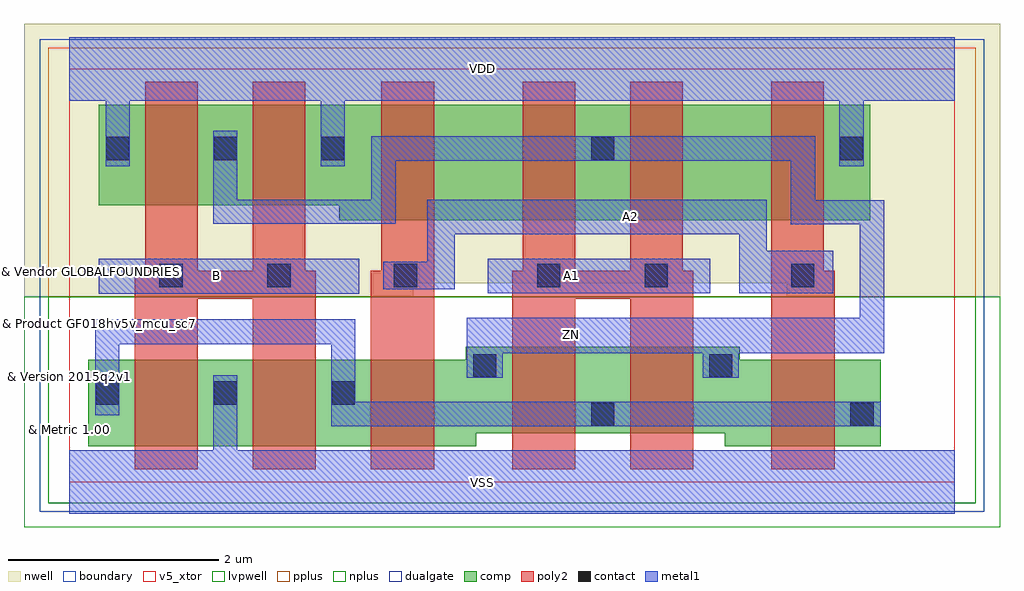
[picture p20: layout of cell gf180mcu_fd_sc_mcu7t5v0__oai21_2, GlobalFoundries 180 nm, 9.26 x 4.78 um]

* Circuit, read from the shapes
.subckt gf180mcu_fd_sc_mcu7t5v0__oai21_2 A1 A2 B VDD VSS ZN
XM1 VSS B n1 VSUBS nfet_05v0 w=0.82u l=0.6u m=2
XM2 ZN A2 n1 VSUBS nfet_05v0 w=0.82u l=0.6u m=2
XM3 n1 A1 ZN VSUBS nfet_05v0 w=0.82u l=0.6u m=2
XM4 ZN B VDD n2 pfet_05v0 w=0.955u l=0.5u m=2
XM5 n3 A2 VDD n2 pfet_05v0 w=1.095u l=0.5u
XM6 ZN A1 n3 n2 pfet_05v0 w=1.095u l=0.5u
XM7 n4 A1 ZN n2 pfet_05v0 w=1.095u l=0.5u
XM8 VDD A2 n4 n2 pfet_05v0 w=1.095u l=0.5u
.ends

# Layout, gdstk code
import gdstk
lib = gdstk.Library(unit=1e-6, precision=1e-09)
def R(c, l, rs):  # rectangles x0, y0, x1, y1
    for r in rs: c.add(gdstk.rectangle(r[:2], r[2:], *l))
def A(c, l, x, y, w, h, nx, ny, dx, dy):  # array of equal rectangles
    R(c, l, [(x+i*dx, y+j*dy, x+i*dx+w, y+j*dy+h) for i in range(nx) for j in range(ny)])
def P(c, l, *ps):  # polygons
    for p in ps: c.add(gdstk.Polygon(p, *l))
boundary = (0, 0)
nwell = (21, 0)
comp = (22, 0)
poly2 = (30, 0)
pplus = (31, 0)
nplus = (32, 0)
contact = (33, 0)
metal1 = (34, 0)
dualgate = (55, 0)
v5_xtor = (112, 1)
lvpwell = (204, 0)

gf180mcu_fd_sc_mcu7t5v0_ = lib.new_cell('gf180mcu_fd_sc_mcu7t5v0__oai21_2')
R(gf180mcu_fd_sc_mcu7t5v0_, boundary, [(0,0,8.4,3.92)])
P(gf180mcu_fd_sc_mcu7t5v0_, nwell, [(-0.43,1.76),(-0.43,4.35),(8.83,4.35),(8.83,1.76),(6.805,1.76),(6.805,1.885),(3.265,1.885),(3.265,1.76)])
P(gf180mcu_fd_sc_mcu7t5v0_, comp, [(2.56,2.485),(2.56,2.625),(0.28,2.625),(0.28,3.58),(7.6,3.58),(7.6,2.485)],
  [(0.18,0.34),(0.18,1.16),(3.76,1.16),(3.76,1.285),(6.36,1.285),(6.36,1.16),(7.7,1.16),(7.7,0.34),(6.22,0.34),(6.22,0.465),(3.86,0.465),(3.86,0.34)])
P(gf180mcu_fd_sc_mcu7t5v0_, poly2, [(0.62,0.12),(0.62,2.005),(0.72,2.005),(0.72,3.8),(1.22,3.8),(1.22,2.005),(1.74,2.005),(1.74,3.8),(2.24,3.8),(2.24,2.005),(2.34,2.005),(2.34,0.12),(1.74,0.12),(1.74,1.74),(1.22,1.74),(1.22,0.12)],
  [(2.86,0.12),(2.86,2.005),(2.96,2.005),(2.96,3.8),(3.46,3.8),(3.46,0.12)],
  [(4.2,0.12),(4.2,2.005),(4.3,2.005),(4.3,3.8),(4.8,3.8),(4.8,2.005),(5.32,2.005),(5.32,3.8),(5.82,3.8),(5.82,2.005),(5.92,2.005),(5.92,0.12),(5.32,0.12),(5.32,1.74),(4.8,1.74),(4.8,0.12)],
  [(6.66,0.12),(6.66,3.8),(7.16,3.8),(7.16,2.005),(7.26,2.005),(7.26,0.12)])
R(gf180mcu_fd_sc_mcu7t5v0_, pplus, [(-0.2,1.76,8.6,4.12)])
R(gf180mcu_fd_sc_mcu7t5v0_, nplus, [(-0.2,-0.2,8.6,1.76)])
A(gf180mcu_fd_sc_mcu7t5v0_, contact, 0.25, 0.735, 0.22, 0.22, 3, 1, 1.12, 0)
A(gf180mcu_fd_sc_mcu7t5v0_, contact, 0.35, 3.055, 0.22, 0.22, 3, 1, 1.02, 0)
R(gf180mcu_fd_sc_mcu7t5v0_, contact, [(4.95,0.535,5.17,0.755), (7.41,0.535,7.63,0.755), (3.83,0.995,4.05,1.215), (6.07,0.995,6.29,1.215), (0.855,1.85,1.075,2.07), (1.88,1.85,2.1,2.07), (3.08,1.85,3.3,2.07), (4.44,1.85,4.66,2.07), (5.46,1.85,5.68,2.07), (6.85,1.85,7.07,2.07), (4.95,3.055,5.17,3.275), (7.31,3.055,7.53,3.275)])
R(gf180mcu_fd_sc_mcu7t5v0_, metal1, [(0.28,1.785,2.75,2.12), (3.97,1.79,6.08,2.12)])
P(gf180mcu_fd_sc_mcu7t5v0_, metal1, [(6.355,1.79),(6.355,2.35),(3.655,2.35),(3.655,1.83),(2.98,1.83),(2.98,2.09),(3.395,2.09),(3.395,2.68),(6.615,2.68),(6.615,2.195),(7.25,2.195),(7.25,1.79)],
  [(2.485,0.53),(2.485,1.31),(0.475,1.31),(0.475,0.635),(0.245,0.635),(0.245,1.545),(2.715,1.545),(2.715,0.76),(7.7,0.76),(7.7,0.53)],
  [(3.77,0.99),(3.77,1.56),(7.5,1.56),(7.5,2.445),(6.845,2.445),(6.845,3.05),(3.095,3.05),(3.095,2.45),(1.365,2.45),(1.365,3.335),(1.595,3.335),(1.595,2.68),(2.865,2.68),(2.865,3.28),(7.075,3.28),(7.075,2.675),(7.73,2.675),(7.73,1.22),(6.35,1.22),(6.35,0.99),(6.01,0.99),(6.01,1.22),(4.11,1.22),(4.11,0.99)],
  [(0,-0.3),(0,0.3),(1.365,0.3),(1.365,1.015),(1.595,1.015),(1.595,0.3),(8.4,0.3),(8.4,-0.3)],
  [(0.345,2.995),(0.345,3.62),(0,3.62),(0,4.22),(8.4,4.22),(8.4,3.62),(7.535,3.62),(7.535,2.995),(7.305,2.995),(7.305,3.62),(2.615,3.62),(2.615,2.995),(2.385,2.995),(2.385,3.62),(0.575,3.62),(0.575,2.995)])
R(gf180mcu_fd_sc_mcu7t5v0_, dualgate, [(-0.28,-0.28,8.68,4.2)])
R(gf180mcu_fd_sc_mcu7t5v0_, v5_xtor, [(0,0,8.4,3.92)])
R(gf180mcu_fd_sc_mcu7t5v0_, lvpwell, [(-0.43,-0.43,8.83,1.76)])
gf180mcu_fd_sc_mcu7t5v0_.add(gdstk.Label('A2', (5.32,2.52), layer=34, texttype=10))
gf180mcu_fd_sc_mcu7t5v0_.add(gdstk.Label('ZN', (4.76,1.4), layer=34, texttype=10))
gf180mcu_fd_sc_mcu7t5v0_.add(gdstk.Label('A1', (4.76,1.96), layer=34, texttype=10))
gf180mcu_fd_sc_mcu7t5v0_.add(gdstk.Label('VSS', (3.92,0), layer=34, texttype=10))
gf180mcu_fd_sc_mcu7t5v0_.add(gdstk.Label('B', (1.4,1.96), layer=34, texttype=10))
gf180mcu_fd_sc_mcu7t5v0_.add(gdstk.Label('VDD', (3.92,3.92), layer=34, texttype=10))
gf180mcu_fd_sc_mcu7t5v0_.add(gdstk.Label('& Vendor GLOBALFOUNDRIES', (0,2), layer=63, texttype=63))
gf180mcu_fd_sc_mcu7t5v0_.add(gdstk.Label('& Product GF018hv5v_mcu_sc7', (0,1.5), layer=63, texttype=63))
gf180mcu_fd_sc_mcu7t5v0_.add(gdstk.Label('& Version 2015q2v1', (0,1), layer=63, texttype=63))
gf180mcu_fd_sc_mcu7t5v0_.add(gdstk.Label('& Metric 1.00', (0,0.5), layer=63, texttype=63))

lib.write_gds('gf180mcu_fd_sc_mcu7t5v0__oai21_2.gds')
